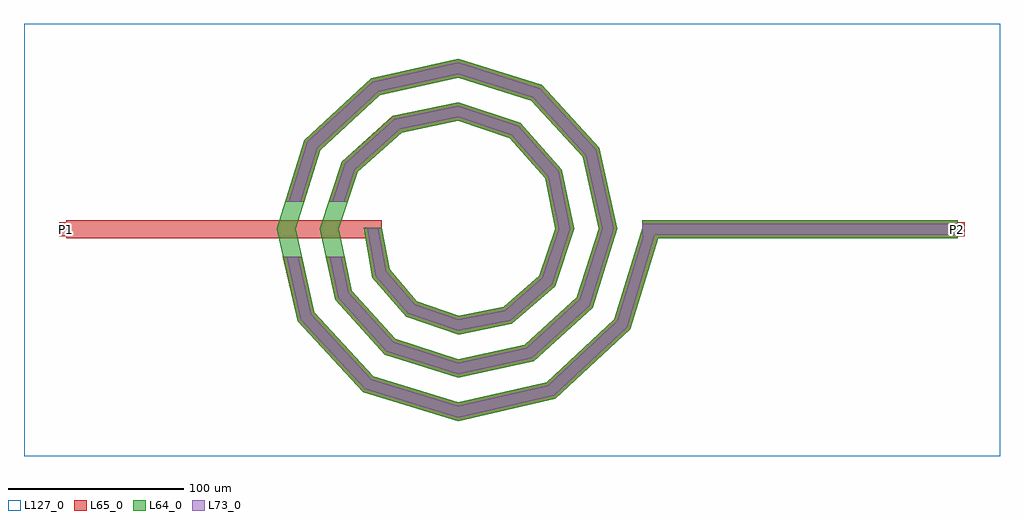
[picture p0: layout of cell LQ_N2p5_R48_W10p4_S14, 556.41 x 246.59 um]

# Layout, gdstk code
import gdstk
lib = gdstk.Library(unit=1e-6, precision=1e-09)
def R(c, l, rs):  # rectangles x0, y0, x1, y1
    for r in rs: c.add(gdstk.rectangle(r[:2], r[2:], *l))
def P(c, l, *ps):  # polygons
    for p in ps: c.add(gdstk.Polygon(p, *l))
L64_0 = (64, 0)
L65_0 = (65, 0)
L73_0 = (73, 0)
L127_0 = (127, 0)

lq_n2p5_r48_w10p4_s14 = lib.new_cell('LQ_N2p5_R48_W10p4_S14')
R(lq_n2p5_r48_w10p4_s14, L64_0, [(105.054,-5.2,285.054,5.2)])
P(lq_n2p5_r48_w10p4_s14, L64_0, [(-38.974,-22.972),(-23.308,-41.154),(0.377,-49.35),(26.018,-44.338),(46.475,-26.428),(55.519,0.339),(49.697,29.071),(29.54,51.801),(0.308,61.687),(-32.13,55.054),(-57.129,32.649),(-67.856,0.282),(-60.409,-35.194),(-35.753,-62.46),(0.26,-74.025),(38.26,-65.762),(67.793,-38.855),(80.195,0.241),(71.114,41.33),(41.955,73.128),(0.225,86.364),(-44.401,76.465),(-78.464,45.052),(-92.534,0.211),(-81.815,-47.474),(-48.148,-83.8),(0.198,-98.704),(50.549,-87.164),(89.138,-51.243),(105.282,1.521),(115.227,-1.521),(98.266,-56.954),(55.592,-96.678),(0.198,-109.465),(-53.879,-92.917),(-91.34,-52.497),(-103.294,0.211),(-87.566,50.805),(-49.399,86.003),(0.225,97.123),(47.733,82.215),(80.666,46.301),(90.952,0.241),(76.862,-44.662),(43.2,-75.331),(0.26,-84.781),(-41.593,-71.508),(-69.997,-40.096),(-78.61,0.282),(-66.152,38.528),(-36.989,64.665),(0.308,72.439),(35.466,60.794),(59.335,33.878),(66.267,0.339),(55.432,-32.408),(30.762,-54.007),(0.377,-60.095),(-29.358,-50.066),(-48.683,-27.637),(-53.664,0.954),(-43.441,0.954)])
R(lq_n2p5_r48_w10p4_s14, L65_0, [(-223.352,-5.2,-43.352,5.2), (105.054,-5.2,285.054,5.2), (-227.352,-4,-219.352,4), (281.054,-4,289.054,4)])
P(lq_n2p5_r48_w10p4_s14, L65_0, [(-81.815,-47.474),(-48.148,-83.8),(0.198,-98.704),(50.549,-87.164),(89.138,-51.243),(105.282,1.521),(115.227,-1.521),(98.266,-56.954),(55.592,-96.678),(0.198,-109.465),(-53.879,-92.917),(-91.34,-52.497),(-99.708,-15.6),(-89.044,-15.6)],
  [(-60.409,-35.194),(-35.753,-62.46),(0.26,-74.025),(38.26,-65.762),(67.793,-38.855),(80.195,0.241),(71.114,41.33),(41.955,73.128),(0.225,86.364),(-44.401,76.465),(-78.464,45.052),(-87.619,15.6),(-98.51,15.6),(-87.566,50.805),(-49.399,86.003),(0.225,97.123),(47.733,82.215),(80.666,46.301),(90.952,0.241),(76.862,-44.662),(43.2,-75.331),(0.26,-84.782),(-41.593,-71.508),(-69.997,-40.096),(-75.223,-15.6),(-64.588,-15.6)],
  [(-23.308,-41.154),(0.377,-49.351),(26.018,-44.338),(46.475,-26.428),(55.519,0.339),(49.697,29.071),(29.541,51.801),(0.308,61.687),(-32.13,55.054),(-57.129,32.649),(-62.683,15.6),(-73.621,15.6),(-66.152,38.528),(-36.99,64.665),(0.308,72.439),(35.466,60.794),(59.335,33.878),(66.267,0.339),(55.432,-32.408),(30.762,-54.007),(0.377,-60.095),(-29.358,-50.066),(-48.683,-27.637),(-53.664,0.954),(-43.441,0.954),(-38.974,-22.972)])
R(lq_n2p5_r48_w10p4_s14, L73_0, [(105.054,-3.2,285.054,3.2)])
P(lq_n2p5_r48_w10p4_s14, L73_0, [(-83.646,-48.44),(-49.25,-85.553),(0.122,-100.773),(51.519,-88.994),(90.893,-52.342),(107.195,0.936),(113.314,0.936),(96.511,-55.856),(54.622,-94.848),(0.122,-107.395),(-52.777,-91.163),(-89.508,-51.531),(-97.657,-15.6),(-91.095,-15.6)],
  [(-62.253,-36.137),(-36.876,-64.2),(0.16,-76.094),(39.21,-67.602),(69.537,-39.972),(82.264,0.149),(72.951,42.286),(43.066,74.875),(0.139,88.433),(-45.362,78.299),(-80.214,46.159),(-89.714,15.6),(-96.416,15.6),(-85.816,49.699),(-48.438,84.168),(0.139,95.054),(46.621,80.467),(78.829,45.345),(88.884,0.149),(75.118,-43.545),(42.25,-73.491),(0.16,-82.713),(-40.47,-69.768),(-68.153,-39.154),(-73.178,-15.6),(-66.634,-15.6)],
  [(-24.472,-42.868),(0.232,-51.417),(26.93,-46.197),(48.198,-27.578),(57.586,0.209),(51.551,29.996),(30.68,53.53),(0.189,63.755),(-33.065,56.902),(-58.864,33.779),(-64.786,15.6),(-71.517,15.6),(-64.417,37.397),(-36.055,62.817),(0.189,70.371),(34.326,59.064),(57.481,32.954),(64.2,0.209),(53.71,-31.258),(29.849,-52.148),(0.232,-58.029),(-28.194,-48.352),(-46.816,-26.74),(-51.698,0.587),(-45.407,0.587),(-40.842,-23.869)])
R(lq_n2p5_r48_w10p4_s14, L127_0, [(-247.352,-129.465,309.054,117.123)])
lq_n2p5_r48_w10p4_s14.add(gdstk.Label('P2', (285.054,0), layer=65, texttype=0))
lq_n2p5_r48_w10p4_s14.add(gdstk.Label('P1', (-223.352,0), layer=65, texttype=0))
lq_n2p5_r48_w10p4_s14.add(gdstk.Label('P2', (289.054,0), layer=145, texttype=0))
lq_n2p5_r48_w10p4_s14.add(gdstk.Label('P1', (-227.352,0), layer=145, texttype=0))

lib.write_gds('LQ_N2p5_R48_W10p4_S14.gds')
